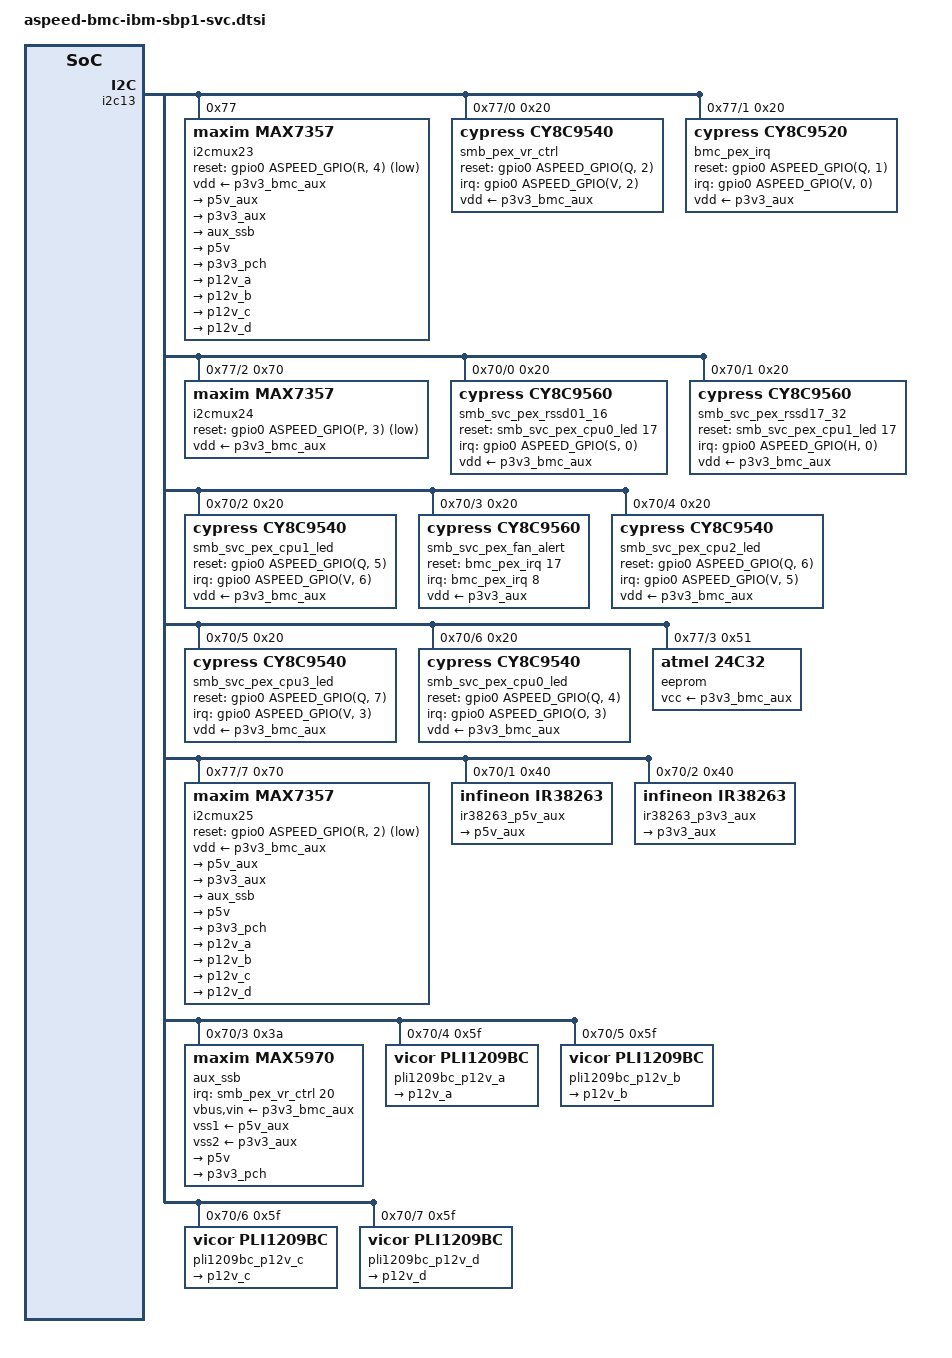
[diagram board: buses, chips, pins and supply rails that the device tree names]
&i2c13 { // BMC_MUX_SVC_EXP
	status = "okay";

	// Bus frequency limited to 100KHz by cy8c9540

	i2cmux23: mux@77 {
		compatible = "maxim,max7357";
		#address-cells = <1>;
		#size-cells = <0>;
		reg = <0x77>;
		reset-gpios = <&gpio0 ASPEED_GPIO(R, 4) (GPIO_ACTIVE_LOW | GPIO_OPEN_DRAIN)>; // BMC_MUX_SVC_EXP_RST_INT_N
		vdd-supply = <&p3v3_bmc_aux>;

		i2c@0 { // SMB_PEX_VR_CTRL
			#address-cells = <1>;
			#size-cells = <0>;
			reg = <0>;
			smb_pex_vr_ctrl: U62120@20 {
				#address-cells = <1>;
				#size-cells = <0>;
				compatible = "cypress,cy8c9540";
				reg = <0x20>;
				gpio-controller;
				#gpio-cells = <2>;
				#interrupt-cells=<2>;
				interrupt-parent = <&gpio0>;
				// using SMB_PEX_VR_CTRL_INT
				interrupts = <ASPEED_GPIO(V, 2) IRQ_TYPE_LEVEL_HIGH>;
				interrupt-controller;
				vdd-supply = <&p3v3_bmc_aux>;
				// reset is PEX_VR_CTRL_RST
				reset-gpios = <&gpio0 ASPEED_GPIO(Q, 2) GPIO_ACTIVE_HIGH>;

				gpio-reserved-ranges = <21 1>;

				gpio-line-names =
				/* GPORT0 */
					"BCM0_INPUT_DISABLE_N", "SMB_VR_P3V3_AUX_ALERT_N",
					"SMB_PEX_CPU1_EVENT_INT", "SMB_PEX_CPU2_EVENT_INT",
					"DPIC0_VOLTAGE_DETECTB_N", "DPIC0_VOLTAGE_DETECTA_N",
					"DPIC1_VOLTAGE_DETECTA_N", "DPIC1_VOLTAGE_DETECTB_N",
				/* GPORT1*/
					"SMB_PEX_NIC_INT", "SMB_VR_P1V05_PCH_AUX_ALERT_N",
					"SMB_PEX_CPU0_EVENT_INT", "SMB_PEX_CPU3_EVENT_INT",
					"LED_ID_TPM", "PLUG_DETECT_TPM",
					"PLUG_DETECT_M2_SSD_CARRIER1", "RST_M2_SSD1_PERST_N",
				/* GPORT2*/
					"LED_ID_BAT", "LED_ID_MGMT_PORT2",
					"LED_ID_MGMT_PORT1", "SMB_VR_P5V_AUX_ALERT_N",
				/* GPORT3*/
					"SMB_VR_AUX_SSB_ALERT_N", "BCM1_INPUT_DISABLE_N",
					"LED_ID_NIC1_PORT1", "LED_ID_NIC1_PORT2",
					"LED_ID_NIC2_PORT1", "LED_ID_NIC2_PORT2",
					"RST_M2_SSD2_PERST_N", "PLUG_DETECT_M2_SSD2",
				/* GPORT4*/
					"PLUG_DETECT_BAT", "PLUG_DETECT_M2_SSD1",
					"M2_SSD1_SSB_ALERT_N", "BCM2_INPUT_DISABLE_N",
					"SMB_VR_P1V8_PCH_AUX_ALERT_N", "BCM3_INPUT_DISABLE_N",
					"LED_PWR_DWR_BACK", "LED_ID_DWR_BACK_P",
				/* GPORT5*/
					"LED_ID_M2_SSD2", "LED_ID_M2_SSD1",
					"PLUG_DETECT_M2_SSD_CARRIER2","M2_SSD2_SSB_ALERT_N";

				pinctrl-0 = <&U62120_pins>;
				pinctrl-names = "default";
				U62120_pins: pin-cfg {
					input {
						pins = "gp01", "gp02", "gp03", "gp04", "gp05",
						"gp06", "gp07", "gp10", "gp11", "gp12", "gp13",
						"gp15", "gp23", "gp40", "gp44";
						function = "gpio";
						input-enable;
					};
					input_pullup {
						pins = "gp00", "gp16", "gp30", "gp31", "gp37",
						"gp41", "gp42", "gp43", "gp45", "gp52", "gp53";
						function = "gpio";
						input-enable;
						bias-pull-up;
					};
					out-low {
						pins = "gp17", "gp36";
						function = "gpio";
						output-enable;
						output-low;
					};
					out-high {
						pins = "gp14", "gp20", "gp21", "gp22", "gp32",
						"gp33", "gp34", "gp35", "gp46", "gp47", "gp50",
						"gp51";
						function = "gpio";
						output-enable;
						output-high;
					};
				};
			};
		};
		i2c@1 { // BMC_PEX_IRQ
			#address-cells = <1>;
			#size-cells = <0>;
			reg = <1>;
			bmc_pex_irq: U60000@20 {
				#address-cells = <1>;
				#size-cells = <0>;
				compatible = "cypress,cy8c9520";
				reg = <0x20>;
				gpio-controller;
				#gpio-cells = <2>;
				#interrupt-cells=<2>;
				interrupt-parent = <&gpio0>;
				interrupts = <ASPEED_GPIO(V, 0) IRQ_TYPE_LEVEL_HIGH>; // BMC_PEX_IRQ_INT
				interrupt-controller;
				vdd-supply = <&p3v3_aux>;
				// reset is PEX_BMC_RST
				reset-gpios = <&gpio0 ASPEED_GPIO(Q, 1) GPIO_ACTIVE_HIGH>;

				ngpios = <17>;

				gpio-line-names =

				/* GPORT0 */
				"SMB_MUX_PWM_FANGRP2_RST_INT_N", "SMB_MUX_SSB_FANGRP2_RST_INT_N",
				"SMB_MUX_PWM_FANGRP1_RST_INT_N", "SMB_MUX_SSB_RSSD01_08_RST_INT_N",
				"SMB_MUX_RSSD01_08_RST_INT_N", "SMB_MUX_RSSD09_16_RST_INT_N",
				"SMB_PEX_RSSD01_16_INT", "SMB_MUX_SSB_FANGRP1_RST_INT_N",
				/* GPORT1*/
				"SMB_SVC_PEX_FAN_ALERT_INT", "SMB_MUX_SSB_RSSD09_16_RST_INT_N",
				"SMB_MUX_SSB_RSSD17_24_RST_INT_N", "SMB_MUX_PWM_FANGRP0_RST_INT_N",
				"SMB_MUX_RSSD17_24_RST_INT_N", "SMB_PEX_RSSD17_32_INT",
				"SMB_MUX_RSSD25_32_RST_INT_N", "SMB_MUX_SSB_RSSD25_32_RST_INT_N",
				/* GPORT2*/
				"SMB_MUX_SSB_FANGRP0_RST_INT_N", "PEX_FAN_ALERT_RST",
				"PEX_RSSD01_16_RST", "PEX_RSSD17_32_RST";

				pinctrl-0 = <&U60000_pins>;
				pinctrl-names = "default";
				U60000_pins: pin-cfg {
					input {
						pins = "gp00", "gp01", "gp02", "gp03", "gp04",
						"gp05", "gp06", "gp07", "gp10", "gp11", "gp12",
						"gp13", "gp14", "gp15", "gp16", "gp17", "gp20";
						function = "gpio";
						input-enable;
					};
					out-high {
						pins = "gp21", "gp22", "gp23";
						function = "gpio";
						output-enable;
						output-high;
					};
				};
			};
		};
		i2c@2 { // BMC_MUX_SVC_RSSD
			#address-cells = <1>;
			#size-cells = <0>;
			reg = <2>;

			i2cmux24: mux@70 {
				compatible = "maxim,max7357";
				#address-cells = <1>;
				#size-cells = <0>;
				reg = <0x70>;
				reset-gpios = <&gpio0 ASPEED_GPIO(P, 3) (GPIO_ACTIVE_LOW | GPIO_OPEN_DRAIN)>; // BMC_MUX_SVC_RSSD_INT
				vdd-supply = <&p3v3_bmc_aux>;

				i2c@0 { // SMB_SVC_PEX_RSSD01_16
					#address-cells = <1>;
					#size-cells = <0>;
					reg = <0>;

					smb_svc_pex_rssd01_16: U65200@20 {
						#address-cells = <1>;
						#size-cells = <0>;
						compatible = "cypress,cy8c9560";
						reg = <0x20>;
						gpio-controller;
						#gpio-cells = <2>;
						// using SMB_SVC_PEX_RSSD01_16_INT
						#interrupt-cells=<2>;
						interrupt-parent = <&gpio0>;
						interrupts = <ASPEED_GPIO(S, 0) IRQ_TYPE_LEVEL_HIGH>;
						interrupt-controller;
						vdd-supply = <&p3v3_bmc_aux>;
						// reset is SVC_PEX_RSSD01_16_RST
						reset-gpios = <&smb_svc_pex_cpu0_led 17 GPIO_ACTIVE_HIGH>;

						gpio-line-names =
						/* GPORT0 */
						"LED_ID_RSSD01", "LED_ID_RSSD02",
						"LED_ID_RSSD03", "LED_ID_RSSD04",
						"LED_ID_RSSD05", "LED_ID_RSSD06",
						"LED_ID_RSSD07", "LED_ID_RSSD08",
						/* GPORT1*/
						"LED_ID_RSSD09", "LED_ID_RSSD10",
						"LED_ID_RSSD11", "LED_ID_RSSD12",
						"LED_ID_RSSD13", "LED_ID_RSSD14",
						"LED_ID_RSSD15", "LED_ID_RSSD16",
						/* GPORT2*/
						"RSSD01_PRESENT_N", "RSSD02_PRESENT_N",
						"RSSD03_PRESENT_N", "RSSD04_PRESENT_N",
						/* GPORT3*/
						"RSSD05_PRESENT_N", "RSSD06_PRESENT_N",
						"RSSD07_PRESENT_N", "RSSD08_PRESENT_N",
						"RSSD09_PRESENT_N", "RSSD10_PRESENT_N",
						"RSSD11_PRESENT_N", "RSSD12_PRESENT_N",
						/* GPORT4*/
						"RSSD13_PRESENT_N", "RSSD14_PRESENT_N",
						"RSSD15_PRESENT_N", "RSSD16_PRESENT_N",
						"LED_ID_FAN_ASM01", "LED_ID_FAN_ASM02",
						"LED_ID_FAN_ASM03", "LED_ID_FAN_ASM04",
						/* GPORT5*/
						"LED_ID_FAN_ASM05", "LED_ID_FAN_ASM06",
						"PLUG_DETECT_FAN_ASM01", "PLUG_DETECT_FAN_ASM02",
						"PLUG_DETECT_FAN_ASM03", "PLUG_DETECT_FAN_ASM04",
						"PLUG_DETECT_FAN_ASM05", "PLUG_DETECT_FAN_ASM06",
						/* GPORT6*/
						"SSB_RSSD01_ALERT_N", "SSB_RSSD02_ALERT_N",
						"SSB_RSSD03_ALERT_N", "SSB_RSSD04_ALERT_N",
						"SSB_RSSD05_ALERT_N", "SSB_RSSD06_ALERT_N",
						"SSB_RSSD07_ALERT_N", "SSB_RSSD08_ALERT_N",
						/* GPORT7*/
						"SSB_RSSD09_ALERT_N", "SSB_RSSD10_ALERT_N",
						"SSB_RSSD11_ALERT_N", "SSB_RSSD12_ALERT_N",
						"SSB_RSSD13_ALERT_N", "SSB_RSSD14_ALERT_N",
						"SSB_RSSD15_ALERT_N", "SSB_RSSD16_ALERT_N";

						pinctrl-0 = <&U65200_pins>;
						pinctrl-names = "default";
						U65200_pins: pin-cfg {
							input_pullup {
								pins = "gp20", "gp21", "gp22",
								"gp23", "gp30", "gp31", "gp32",
								"gp33", "gp34", "gp35", "gp36",
								"gp37", "gp40", "gp41", "gp42",
								"gp43", "gp52", "gp53", "gp54",
								"gp55", "gp56", "gp57", "gp60",
								"gp61", "gp62", "gp63", "gp64",
								"gp65", "gp66", "gp67", "gp70",
								"gp71", "gp72", "gp73", "gp74",
								"gp75", "gp76", "gp77";
								function = "gpio";
								input-enable;
								bias-pull-up;
							};
							out-high {
								pins = "gp00", "gp01", "gp02",
								"gp03", "gp04", "gp05", "gp06",
								"gp07", "gp10", "gp11", "gp12",
								"gp13", "gp14", "gp15", "gp16",
								"gp17", "gp44", "gp45", "gp46",
								"gp47", "gp50", "gp51";
								function = "gpio";
								output-enable;
								output-high;
							};
						};
					};
				};
				i2c@1 { // SMB_SVC_PEX_RSSD17_32
					#address-cells = <1>;
					#size-cells = <0>;
					reg = <1>;

					smb_svc_pex_rssd17_32: U65300@20 {
						#address-cells = <1>;
						#size-cells = <0>;
						compatible = "cypress,cy8c9560";
						reg = <0x20>;
						gpio-controller;
						#gpio-cells = <2>;
						// using SMB_SVC_PEX_RSSD17_32_INT
						#interrupt-cells=<2>;
						interrupt-parent = <&gpio0>;
						interrupts = <ASPEED_GPIO(H, 0) IRQ_TYPE_LEVEL_HIGH>;
						interrupt-controller;
						vdd-supply = <&p3v3_bmc_aux>;
						// reset is SVC_PEX_RSSD17_32_RST
						reset-gpios = <&smb_svc_pex_cpu1_led 17 GPIO_ACTIVE_HIGH>;

						gpio-line-names =
						/* GPORT0 */
						"LED_ID_RSSD17", "LED_ID_RSSD18",
						"LED_ID_RSSD19", "LED_ID_RSSD20",
						"LED_ID_RSSD21", "LED_ID_RSSD22",
						"LED_ID_RSSD23", "LED_ID_RSSD24",
						/* GPORT1*/
						"LED_ID_RSSD25", "LED_ID_RSSD26",
						"LED_ID_RSSD27", "LED_ID_RSSD28",
						"LED_ID_RSSD29", "LED_ID_RSSD30",
						"LED_ID_RSSD31", "LED_ID_RSSD32",
						/* GPORT2*/
						"RSSD17_PRESENT_N", "RSSD18_PRESENT_N",
						"RSSD19_PRESENT_N", "RSSD20_PRESENT_N",
						/* GPORT3*/
						"RSSD21_PRESENT_N", "RSSD22_PRESENT_N",
						"RSSD23_PRESENT_N", "RSSD24_PRESENT_N",
						"RSSD25_PRESENT_N", "RSSD26_PRESENT_N",
						"RSSD27_PRESENT_N", "RSSD28_PRESENT_N",
						/* GPORT4*/
						"RSSD29_PRESENT_N", "RSSD30_PRESENT_N",
						"RSSD31_PRESENT_N", "RSSD32_PRESENT_N",
						"LED_ID_FAN_ASM07", "LED_ID_FAN_ASM08",
						"LED_ID_FAN_ASM09", "LED_ID_FAN_ASM10",
						/* GPORT5*/
						"LED_ID_FAN_ASM11", "LED_ID_FAN_ASM12",
						"PLUG_DETECT_FAN_ASM07", "PLUG_DETECT_FAN_ASM08",
						"PLUG_DETECT_FAN_ASM09", "PLUG_DETECT_FAN_ASM10",
						"PLUG_DETECT_FAN_ASM11", "PLUG_DETECT_FAN_ASM12",
						/* GPORT6*/
						"SSB_RSSD17_ALERT_N", "SSB_RSSD18_ALERT_N",
						"SSB_RSSD19_ALERT_N", "SSB_RSSD20_ALERT_N",
						"SSB_RSSD21_ALERT_N", "SSB_RSSD22_ALERT_N",
						"SSB_RSSD23_ALERT_N", "SSB_RSSD24_ALERT_N",
						/* GPORT7*/
						"SSB_RSSD25_ALERT_N", "SSB_RSSD26_ALERT_N",
						"SSB_RSSD27_ALERT_N", "SSB_RSSD28_ALERT_N",
						"SSB_RSSD29_ALERT_N", "SSB_RSSD30_ALERT_N",
						"SSB_RSSD31_ALERT_N", "SSB_RSSD32_ALERT_N";

						pinctrl-0 = <&U65300_pins>;
						pinctrl-names = "default";
						U65300_pins: pin-cfg {
							input_pullup {
								pins = "gp20", "gp21", "gp22",
								"gp23", "gp30", "gp31", "gp32",
								"gp33", "gp34", "gp35", "gp36",
								"gp37", "gp40", "gp41", "gp42",
								"gp43", "gp52", "gp53", "gp54",
								"gp55", "gp56", "gp57", "gp60",
								"gp61", "gp62", "gp63", "gp64",
								"gp65", "gp66", "gp67", "gp70",
								"gp71", "gp72", "gp73", "gp74",
								"gp75", "gp76", "gp77";
								function = "gpio";
								input-enable;
								bias-pull-up;
							};
							out-high {
								pins = "gp00", "gp01", "gp02",
								"gp03", "gp04", "gp05", "gp06",
								"gp07", "gp10", "gp11", "gp12",
								"gp13", "gp14", "gp15", "gp16",
								"gp17", "gp44", "gp45", "gp46",
								"gp47", "gp50", "gp51";
								function = "gpio";
								output-enable;
								output-high;
							};
						};
					};
				};

				i2c@2 { // SMB_SVC_PEX_CPU1_LED
					#address-cells = <1>;
					#size-cells = <0>;
					reg = <2>;

					smb_svc_pex_cpu1_led: U65500@20 {
						#address-cells = <1>;
						#size-cells = <0>;
						compatible = "cypress,cy8c9540";
						reg = <0x20>;
						gpio-controller;
						#gpio-cells = <2>;
						#interrupt-cells=<2>;
						// uses SMB_SVC_PEX_CPU1_LED_INT
						interrupt-parent = <&gpio0>;
						interrupts = <ASPEED_GPIO(V, 6) IRQ_TYPE_LEVEL_HIGH>;
						interrupt-controller;
						vdd-supply = <&p3v3_bmc_aux>;
						// reset is PEX_CPU1_LED_RST
						reset-gpios = <&gpio0 ASPEED_GPIO(Q, 5) GPIO_ACTIVE_HIGH>;

						gpio-reserved-ranges = <18 2>, <36 2>;

						gpio-line-names =
						/* GPORT0 */
						"PLUG_DETECT_DIMM_C1E2", "PLUG_DETECT_DIMM_C1E1",
						"PLUG_DETECT_DIMM_C1F2", "PLUG_DETECT_DIMM_C1F1",
						"PLUG_DETECT_DIMM_C1G2", "PLUG_DETECT_DIMM_C1G1",
						"PLUG_DETECT_DIMM_C1H2", "PLUG_DETECT_DIMM_C1H1",
						/* GPORT1*/
						"PLUG_DETECT_DIMM_C1D1", "PLUG_DETECT_DIMM_C1D2",
						"PLUG_DETECT_DIMM_C1C1", "PLUG_DETECT_DIMM_C1C2",
						"PLUG_DETECT_DIMM_C1B1", "PLUG_DETECT_DIMM_C1B2",
						"PLUG_DETECT_DIMM_C1A1", "PLUG_DETECT_DIMM_C1A2",
						/* GPORT2*/
						"PEX_CPU1_EVENT_RST", "SVC_PEX_RSSD17_32_RST",
						"", "",
						/* GPORT3*/
						"LED_ID_DIMM_C1E2", "LED_ID_DIMM_C1E1",
						"LED_ID_DIMM_C1F2", "LED_ID_DIMM_C1F1",
						"LED_ID_DIMM_C1G2", "LED_ID_DIMM_C1G1",
						"LED_ID_DIMM_C1H2", "LED_ID_DIMM_C1H1",
						/* GPORT4*/
						"LED_ID_DIMM_C1A2", "LED_ID_DIMM_C1A1",
						"LED_ID_DIMM_C1B2", "LED_ID_DIMM_C1B1",
						"LED_ID_DIMM_C1C2", "LED_ID_DIMM_C1C1",
						"LED_ID_DIMM_C1D2", "LED_ID_DIMM_C1D1",
						/* GPORT5*/
						"", "",
						"FM_CPU1_SKTOCC_N", "LED_ID_CPU1";

						pinctrl-0 = <&U65500_pins>;
						pinctrl-names = "default";
						U65500_pins: pin-cfg {
							input {
								pins = "gp00", "gp01", "gp02",
								"gp03", "gp04", "gp05", "gp06",
								"gp07", "gp10", "gp11", "gp12",
								"gp13", "gp14", "gp15", "gp16",
								"gp17", "gp52";
								function = "gpio";
								input-enable;
							};
							out-high {
								pins = "gp20", "gp21", "gp30",
								"gp31", "gp32", "gp33", "gp34",
								"gp35", "gp36", "gp37", "gp40",
								"gp41", "gp42", "gp43", "gp44",
								"gp45", "gp46", "gp47", "gp53";
								function = "gpio";
								output-enable;
								output-high;
							};
						};
					};
				};
				
				i2c@3 { // SMB_SVC_PEX_FAN_ALERT
					#address-cells = <1>;
					#size-cells = <0>;
					reg = <3>;

					smb_svc_pex_fan_alert: U65600@20 {
						#address-cells = <1>;
						#size-cells = <0>;
						compatible = "cypress,cy8c9560";
						reg = <0x20>;
						gpio-controller;
						#gpio-cells = <2>;
						// uses SMB_SVC_PEX_FAN_ALERT_INT
						#interrupt-cells=<2>;
						interrupt-parent = <&bmc_pex_irq>;
						interrupts = <8 IRQ_TYPE_LEVEL_HIGH>;
						interrupt-controller;
						vdd-supply = <&p3v3_aux>;
						// reset is PEX_FAN_ALERT_RST
						reset-gpios = <&bmc_pex_irq 17 GPIO_ACTIVE_HIGH>;

						ngpios = <51>;
						gpio-reserved-ranges = <24 3>, <51 9>;

						gpio-line-names =
						/* GPORT0 */
						"FAN01_SSB_ALERT_N", "FAN02_SSB_ALERT_N",
						"FAN03_SSB_ALERT_N", "FAN04_SSB_ALERT_N",
						"FAN05_SSB_ALERT_N", "FAN06_SSB_ALERT_N",
						"FAN07_SSB_ALERT_N", "FAN08_SSB_ALERT_N",
						/* GPORT1*/
						"FAN09_SSB_ALERT_N", "FAN10_SSB_ALERT_N",
						"FAN11_SSB_ALERT_N", "FAN12_SSB_ALERT_N",
						"FAN13_SSB_ALERT_N", "FAN14_SSB_ALERT_N",
						"FAN15_SSB_ALERT_N", "FAN16_SSB_ALERT_N",
						/* GPORT2*/
						"FAN17_SSB_ALERT_N", "FAN18_SSB_ALERT_N",
						"FAN19_SSB_ALERT_N", "FAN20_SSB_ALERT_N",
						/* GPORT3*/
						"FAN21_SSB_ALERT_N", "FAN22_SSB_ALERT_N",
						"FAN23_SSB_ALERT_N", "FAN24_SSB_ALERT_N",
						"", "",
						"", "FAN01_PWM_ALERT_N",
						/* GPORT4*/
						"FAN02_PWM_ALERT_N", "FAN03_PWM_ALERT_N",
						"FAN04_PWM_ALERT_N", "FAN05_PWM_ALERT_N",
						"FAN06_PWM_ALERT_N", "FAN07_PWM_ALERT_N",
						"FAN08_PWM_ALERT_N", "FAN09_PWM_ALERT_N",
						/* GPORT5*/
						"FAN10_PWM_ALERT_N", "FAN11_PWM_ALERT_N",
						"FAN12_PWM_ALERT_N", "FAN13_PWM_ALERT_N",
						"FAN14_PWM_ALERT_N", "FAN15_PWM_ALERT_N",
						"FAN16_PWM_ALERT_N", "FAN17_PWM_ALERT_N",
						/* GPORT6*/
						"FAN18_PWM_ALERT_N", "FAN19_PWM_ALERT_N",
						"FAN20_PWM_ALERT_N", "FAN21_PWM_ALERT_N",
						"FAN22_PWM_ALERT_N", "FAN23_PWM_ALERT_N",
						"FAN24_PWM_ALERT_N", "",
						/* GPORT7*/
						"", "",
						"", "",
						"", "",
						"", "";

						pinctrl-0 = <&U65600_pins>;
						pinctrl-names = "default";
						U65600_pins: pin-cfg {
							input_pullup {
								pins = "gp00", "gp01", "gp02",
								"gp03", "gp04", "gp05", "gp06",
								"gp07", "gp10", "gp11", "gp12",
								"gp13", "gp14", "gp15", "gp16",
								"gp17", "gp20", "gp21", "gp22",
								"gp23", "gp30", "gp31", "gp32",
								"gp33", "gp37", "gp40", "gp41",
								"gp42", "gp43", "gp44", "gp45",
								"gp46", "gp47", "gp50", "gp51",
								"gp52", "gp53", "gp54", "gp55",
								"gp56", "gp57", "gp60", "gp61",
								"gp62", "gp63", "gp64", "gp65",
								"gp66";
								function = "gpio";
								input-enable;
								bias-pull-up;
							};
						};
					};
				};
				i2c@4 { // SMB_SVC_PEX_CPU2_LED
					#address-cells = <1>;
					#size-cells = <0>;
					reg = <4>;

					smb_svc_pex_cpu2_led: U65800@20 {
						#address-cells = <1>;
						#size-cells = <0>;
						compatible = "cypress,cy8c9540";
						reg = <0x20>;
						gpio-controller;
						#gpio-cells = <2>;
						#interrupt-cells=<2>;
						// uses SMB_SVC_PEX_CPU2_LED_INT
						interrupt-parent = <&gpio0>;
						interrupts = <ASPEED_GPIO(V, 5) IRQ_TYPE_LEVEL_HIGH>;
						interrupt-controller;
						vdd-supply = <&p3v3_bmc_aux>;
						// reset is PEX_CPU2_LED_RST
						reset-gpios = <&gpio0 ASPEED_GPIO(Q, 6) GPIO_ACTIVE_HIGH>;

						gpio-reserved-ranges = <17 3>, <36 2>;

						gpio-line-names =
						/* GPORT0 */
						"PLUG_DETECT_DIMM_C2E2", "PLUG_DETECT_DIMM_C2E1",
						"PLUG_DETECT_DIMM_C2F2", "PLUG_DETECT_DIMM_C2F1",
						"PLUG_DETECT_DIMM_C2G2", "PLUG_DETECT_DIMM_C2G1",
						"PLUG_DETECT_DIMM_C2H2", "PLUG_DETECT_DIMM_C2H1",
						/* GPORT1*/
						"PLUG_DETECT_DIMM_C2D1", "PLUG_DETECT_DIMM_C2D2",
						"PLUG_DETECT_DIMM_C2C1", "PLUG_DETECT_DIMM_C2C2",
						"PLUG_DETECT_DIMM_C2B1", "PLUG_DETECT_DIMM_C2B2",
						"PLUG_DETECT_DIMM_C2A1", "PLUG_DETECT_DIMM_C2A2",
						/* GPORT2*/
						"PEX_CPU2_EVENT_RST", "",
						"", "",
						/* GPORT3*/
						"LED_ID_DIMM_C2E2", "LED_ID_DIMM_C2E1",
						"LED_ID_DIMM_C2F2", "LED_ID_DIMM_C2F1",
						"LED_ID_DIMM_C2G2", "LED_ID_DIMM_C2G1",
						"LED_ID_DIMM_C2H2", "LED_ID_DIMM_C2H1",
						/* GPORT4*/
						"LED_ID_DIMM_C2A2", "LED_ID_DIMM_C2A1",
						"LED_ID_DIMM_C2B2", "LED_ID_DIMM_C2B1",
						"LED_ID_DIMM_C2C2", "LED_ID_DIMM_C2C1",
						"LED_ID_DIMM_C2D2", "LED_ID_DIMM_C2D1",
						/* GPORT5*/
						"", "",
						"FM_CPU2_SKTOCC_N", "LED_ID_CPU2";

						pinctrl-0 = <&U65800_pins>;
						pinctrl-names = "default";
						U65800_pins: pin-cfg {
							input {
								pins = "gp00", "gp01", "gp02",
								"gp03", "gp04", "gp05", "gp06",
								"gp07", "gp10", "gp11", "gp12",
								"gp13", "gp14", "gp15", "gp16",
								"gp17", "gp52";
								function = "gpio";
								input-enable;
							};
							out-high {
								pins = "gp20", "gp30", "gp31",
								"gp32", "gp33", "gp34", "gp35",
								"gp36", "gp37", "gp40", "gp41",
								"gp42", "gp43", "gp44", "gp45",
								"gp46", "gp47", "gp53";
								function = "gpio";
								output-enable;
								output-high;
							};
						};
					};
				};
				i2c@5 { // SMB_SVC_PEX_CPU3_LED
					#address-cells = <1>;
					#size-cells = <0>;
					reg = <5>;

					smb_svc_pex_cpu3_led: U65900@20 {
						#address-cells = <1>;
						#size-cells = <0>;
						compatible = "cypress,cy8c9540";
						reg = <0x20>;
						gpio-controller;
						#gpio-cells = <2>;
						#interrupt-cells=<2>;
						interrupt-parent = <&gpio0>;
						interrupts = <ASPEED_GPIO(V, 3) IRQ_TYPE_LEVEL_HIGH>; // SMB_SVC_PEX_CPU12_LED_INT
						interrupt-controller;
						vdd-supply = <&p3v3_bmc_aux>;
						// reset is PEX_CPU3_LED_RST
						reset-gpios = <&gpio0 ASPEED_GPIO(Q, 7) GPIO_ACTIVE_HIGH>;

						ngpios = <59>;
						//FIXME: Used by unit testing. Uncomment on release.
						gpio-reserved-ranges = <17 3>;

						gpio-line-names =
						/* GPORT0 */
						"PLUG_DETECT_DIMM_C3E2", "PLUG_DETECT_DIMM_C3E1",
						"PLUG_DETECT_DIMM_C3F2", "PLUG_DETECT_DIMM_C3F1",
						"PLUG_DETECT_DIMM_C3G2", "PLUG_DETECT_DIMM_C3G1",
						"PLUG_DETECT_DIMM_C3H2", "PLUG_DETECT_DIMM_C3H1",
						/* GPORT1*/
						"PLUG_DETECT_DIMM_C3D1", "PLUG_DETECT_DIMM_C3D2",
						"PLUG_DETECT_DIMM_C3C1", "PLUG_DETECT_DIMM_C3C2",
						"PLUG_DETECT_DIMM_C3B1", "PLUG_DETECT_DIMM_C3B2",
						"PLUG_DETECT_DIMM_C3A1", "PLUG_DETECT_DIMM_C3A2",
						/* GPORT2*/
						"PEX_CPU3_EVENT_RST", "",
						"", "",
						/* GPORT3*/
						"LED_ID_DIMM_C3E2", "LED_ID_DIMM_C3E1",
						"LED_ID_DIMM_C3F2", "LED_ID_DIMM_C3F1",
						"LED_ID_DIMM_C3G2", "LED_ID_DIMM_C3G1",
						"LED_ID_DIMM_C3H2", "LED_ID_DIMM_C3H1",
						/* GPORT4*/
						"LED_ID_DIMM_C3A2", "LED_ID_DIMM_C3A1",
						"LED_ID_DIMM_C3B2", "LED_ID_DIMM_C3B1",
						"LED_ID_DIMM_C3C2", "LED_ID_DIMM_C3C1",
						"LED_ID_DIMM_C3D2", "LED_ID_DIMM_C3D1",
						/* GPORT5*/
						"LED_PWR_DWR_FRNT", "LED_ID_DWR_FRNT_P",
						"FM_CPU3_SKTOCC_N", "LED_ID_CPU3";

						pinctrl-0 = <&U65900_pins>;
						pinctrl-names = "default";
						U65900_pins: pin-cfg {
							input {
								pins = "gp00", "gp01", "gp02",
								"gp03", "gp04", "gp05", "gp06",
								"gp07", "gp10", "gp11", "gp12",
								"gp13", "gp14", "gp15", "gp16",
								"gp17", "gp52";
								function = "gpio";
								input-enable;
							};
							out-high {
								pins = "gp20", "gp30", "gp31",
								"gp32", "gp33", "gp34", "gp35",
								"gp36", "gp37", "gp40", "gp41",
								"gp42", "gp43", "gp44", "gp45",
								"gp46", "gp47", "gp50", "gp51",
								"gp53";
								function = "gpio";
								output-enable;
								output-high;
							};
						};
					};
				};
				i2c@6 { // SMB_SVC_PEX_CPU0_LED
					#address-cells = <1>;
					#size-cells = <0>;
					reg = <6>;

					smb_svc_pex_cpu0_led: U65400@20 {
						#address-cells = <1>;
						#size-cells = <0>;
						compatible = "cypress,cy8c9540";
						reg = <0x20>;
						gpio-controller;
						#gpio-cells = <2>;
						#interrupt-cells=<2>;
						interrupt-parent = <&gpio0>;
						interrupts = <ASPEED_GPIO(O, 3) IRQ_TYPE_LEVEL_HIGH>; // SMB_SVC_PEX_CPU0_LED_INT
						interrupt-controller;
						vdd-supply = <&p3v3_bmc_aux>;
						// reset is PEX_CPU0_LED_RST
						reset-gpios = <&gpio0 ASPEED_GPIO(Q, 4) GPIO_ACTIVE_HIGH>;

						ngpios = <59>;
						//FIXME: Used by unit testing. Uncomment on release.
						gpio-reserved-ranges = <18 2>, <36 2>;

						gpio-line-names =
						/* GPORT0 */
						"PLUG_DETECT_DIMM_C0E2", "PLUG_DETECT_DIMM_C0E1",
						"PLUG_DETECT_DIMM_C0F2", "PLUG_DETECT_DIMM_C0F1",
						"PLUG_DETECT_DIMM_C0G2", "PLUG_DETECT_DIMM_C0G1",
						"PLUG_DETECT_DIMM_C0H2", "PLUG_DETECT_DIMM_C0H1",
						/* GPORT1*/
						"PLUG_DETECT_DIMM_C0D1", "PLUG_DETECT_DIMM_C0D2",
						"PLUG_DETECT_DIMM_C0C1", "PLUG_DETECT_DIMM_C0C2",
						"PLUG_DETECT_DIMM_C0B1", "PLUG_DETECT_DIMM_C0B2",
						"PLUG_DETECT_DIMM_C0A1", "PLUG_DETECT_DIMM_C0A2",
						/* GPORT2*/
						"PEX_CPU0_EVENT_RST", "SVC_PEX_RSSD01_16_RST",
						"", "",
						/* GPORT3*/
						"LED_ID_DIMM_C0E2", "LED_ID_DIMM_C0E1",
						"LED_ID_DIMM_C0F2", "LED_ID_DIMM_C0F1",
						"LED_ID_DIMM_C0G2", "LED_ID_DIMM_C0G1",
						"LED_ID_DIMM_C0H2", "LED_ID_DIMM_C0H1",
						/* GPORT4*/
						"LED_ID_DIMM_C0A2", "LED_ID_DIMM_C0A1",
						"LED_ID_DIMM_C0B2", "LED_ID_DIMM_C0B1",
						"LED_ID_DIMM_C0C2", "LED_ID_DIMM_C0C1",
						"LED_ID_DIMM_C0D2", "LED_ID_DIMM_C0D1",
						/* GPORT5*/
						"", "",
						"FM_CPU0_SKTOCC_N", "LED_ID_CPU0";

						pinctrl-0 = <&U65400_pins>;
						pinctrl-names = "default";
						U65400_pins: pin-cfg {
							input {
								pins = "gp00", "gp01", "gp02",
								"gp03", "gp04", "gp05", "gp06",
								"gp07", "gp10", "gp11", "gp12",
								"gp13", "gp14", "gp15", "gp16",
								"gp17", "gp52";
								function = "gpio";
								input-enable;
							};
							out-high {
								pins = "gp20", "gp21", "gp30",
								"gp31", "gp32", "gp33", "gp34",
								"gp35", "gp36", "gp37", "gp40",
								"gp41", "gp42", "gp43",
								"gp44", "gp45", "gp46",
								"gp47", "gp53";
								function = "gpio";
								output-enable;
								output-high;
							};
						};
					};
				};
			};
		};
		i2c@3 { // BMC_EEPROM
			#address-cells = <1>;
			#size-cells = <0>;
			reg = <3>;

			eeprom@51 { // M24C32-R
				compatible = "atmel,24c32";
				reg = <0x51>;
				pagesize = <32>;
				vcc-supply = <&p3v3_bmc_aux>;
			};
		};
		i2c@7 { // BMC_MUX_SVC_VR
			#address-cells = <1>;
			#size-cells = <0>;
			reg = <7>;
			i2cmux25: mux@70 {
				compatible = "maxim,max7357";
				#address-cells = <1>;
				#size-cells = <0>;
				reg = <0x70>;
				reset-gpios = <&gpio0 ASPEED_GPIO(R, 2) (GPIO_ACTIVE_LOW | GPIO_OPEN_DRAIN)>; // BMC_MUX_SVC_VR_RST_INT
				vdd-supply = <&p3v3_bmc_aux>;

				i2c@1 { // SMB_VR_P5V_AUX
					#address-cells = <1>;
					#size-cells = <0>;
					reg = <1>;

					ir38263_p5v_aux@40 {
						reg = <0x40>;
						compatible = "infineon,ir38263";

						regulators {
							p5v_aux: vout0 {
								regulator-compatible = "vout0";
								regulator-name = "p5v_aux";
								regulator-enable-ramp-delay = <2000>;
								vin-supply = <&p12v_a>;
								vbus-supply = <&p3v3_bmc_aux>;
								// Supplies the BMC
								regulator-always-on;
								regulator-boot-on;
							};
						};
					};
				};
				i2c@2 { // SMB_VR_P3V3_AUX
					#address-cells = <1>;
					#size-cells = <0>;
					reg = <2>;
					ir38263_p3v3_aux@40 {
						compatible = "infineon,ir38263";
						reg = <0x40>;

						regulators {
							p3v3_aux: vout0 {
								regulator-compatible = "vout0";
								vin-supply = <&p12v_a>;
								regulator-name = "p3v3_aux";
								// 2msec for regulator + 18msec for board capacitance
								// Note: Every IC has a PTC which slowly charges the bypass cap.
								regulator-enable-ramp-delay = <200000>;
							};
						};
					};
				};
				i2c@3 { // SMB_VR_AUX_SSB
					#address-cells = <1>;
					#size-cells = <0>;
					reg = <3>;
					aux_ssb: regulator@3a {
						reg = <0x3a>;
						compatible = "maxim,max5970";
						#io-channel-cells = <1>;
						regulator-name = "pch_main_rails";
						interrupt-parent = <&smb_pex_vr_ctrl>;
						interrupts = <20 IRQ_TYPE_LEVEL_LOW>; // SMB_VR_AUX_SSB_ALERT
						vbus-supply = <&p3v3_bmc_aux>;
						vin-supply = <&p3v3_bmc_aux>;

						// FIXME: Move to regulators
						vss1-supply = <&p5v_aux>;
						vss2-supply = <&p3v3_aux>;

						regulators {
							p5v: SW0 {
								vss1-supply = <&p5v_aux>;
								regulator-compatible = "SW0";
								regulator-name = "p5v";
								shunt-resistor-micro-ohms = <12000>;
								regulator-over-current-protection;
								regulator-oc-protection-microamp = <3400000>;
								regulator-enable-ramp-delay = <100000>;
							};
							p3v3_pch: SW1 {
								vss2-supply = <&p3v3_aux>;
								regulator-compatible = "SW1";
								regulator-name = "p3v3_pch";
								shunt-resistor-micro-ohms = <12000>;
								regulator-over-current-protection;
								regulator-oc-protection-microamp = <3400000>;
								regulator-enable-ramp-delay = <100000>;
							};
						};
					};
				};
				i2c@4 { // SMB_BCM0
					#address-cells = <1>;
					#size-cells = <0>;
					reg = <4>;
					pli1209bc_p12v_a: regulator@5f {
						compatible = "vicor,pli1209bc";
						reg = <0x5f>;
						regulators {
							p12v_a: vout2 {
								regulator-compatible = "vout2";
								regulator-name = "bcm0";
								regulator-always-on;
								regulator-boot-on;
							};
						};
					};
				};
				i2c@5 { // SMB_BCM1
					#address-cells = <1>;
					#size-cells = <0>;
					reg = <5>;
					pli1209bc_p12v_b: regulator@5f {
						compatible = "vicor,pli1209bc";
						reg = <0x5f>;
						regulators {
							p12v_b: vout2 {
								regulator-compatible = "vout2";
								regulator-name = "bcm1";
								regulator-boot-on;
							};
						};
					};
				};
				i2c@6 { // SMB_BCM2
					#address-cells = <1>;
					#size-cells = <0>;
					reg = <6>;
					pli1209bc_p12v_c: regulator@5f {
						compatible = "vicor,pli1209bc";
						reg = <0x5f>;
						regulators {
							p12v_c: vout2 {
								regulator-compatible = "vout2";
								regulator-name = "bcm2";
								regulator-boot-on;
							};
						};
					};
				};
				i2c@7 { // SMB_BCM3
					#address-cells = <1>;
					#size-cells = <0>;
					reg = <7>;
					pli1209bc_p12v_d: regulator@5f {
						compatible = "vicor,pli1209bc";
						reg = <0x5f>;
						regulators {
							p12v_d: vout2 {
								regulator-compatible = "vout2";
								regulator-name = "bcm3";
								regulator-boot-on;
							};
						};
					};
				};
			};
		};
	};
};
